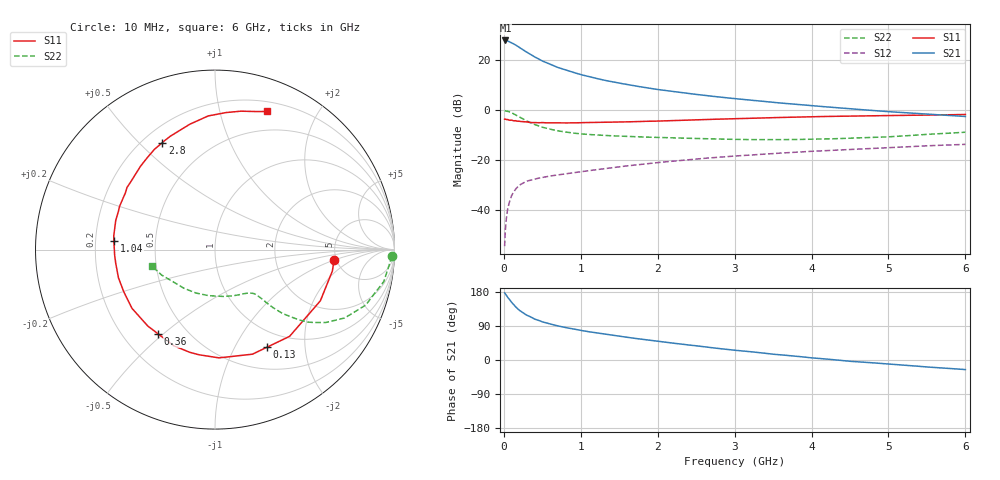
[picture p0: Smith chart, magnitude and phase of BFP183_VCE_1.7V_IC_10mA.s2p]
! Infineon Technologies  Discrete & RF Semiconductors
! BFP183
! VCE = 1.7 V,  IC =  10 mA
! Common Emitter S-Parameters:  Jan 2016
# GHz  S  MA  R  50
!  f  S11  S21  S12  S22
! GHz  MAG  ANG  MAG  ANG  MAG  ANG  MAG  ANG
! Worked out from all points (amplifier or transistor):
!   210 points, 10 MHz to 6 GHz, reference 50 ohm
!   highest |S21| = 28.0 dB at 20 MHz (marker M1)
!   |S21| within 3 dB of that: start of sweep to 213 MHz
!   unconditionally stable (mu >= 1): 1.119 GHz to 5.751 GHz
!   at 185 MHz: K = 0.26, MSG = 28.0 dB, |S12| = -30.5 dB
!   at 1.52 GHz: K = 1.11, MAG = 14.6 dB, |S12| = -22.6 dB
!   at 6 GHz: K = 0.96, MSG = 5.6 dB, |S12| = -13.7 dB
!   S11 on the Smith chart (normalised r, x): 10 MHz: 4.76, -1.01; 130 MHz: 0.78, -1.36; 360 MHz: 0.35, -0.48; 1.04 GHz: 0.28, +0.04; 2.8 GHz: 0.27, +0.59; 6 GHz: 0.29, +1.41
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0.01  0.6656 -5.1  24.86 177.2  0.0019 82.1  0.9846 -2.1
0.02  0.6648 -10.3  25 174.6  0.004 87.7  0.9772 -4.3
0.05  0.6527 -25.9  24.5 165.4  0.0106 81.2  0.9572 -10.7
0.1  0.6374 -49.3  22.53 152.4  0.0194 68.0  0.8949 -20.2
0.13  0.6162 -61.8  21.17 145.7  0.0234 63.1  0.8463 -24.6
0.15  0.619 -70.3  20.44 140.8  0.0261 60.6  0.817 -27.8
0.2  0.6036 -87.9  18.27 131.5  0.0315 54.2  0.7381 -33.4
0.24  0.5927 -98.7  16.56 125.6  0.0341 50.4  0.6829 -36.5
0.3  0.583 -113.1  14.51 118.0  0.0382 47.0  0.6087 -40.0
0.36  0.5664 -123.9  12.81 112.5  0.0405 44.5  0.5543 -41.9
0.4  0.567 -131.3  11.75 108.0  0.042 43.0  0.5185 -43.4
0.5  0.5666 -144.7  9.717 100.7  0.0452 40.9  0.458 -45.0
0.6  0.56 -155.0  8.357 95.0  0.0482 40.3  0.4177 -45.8
1.02  0.5642 176.1  5.089 77.5  0.0591 41.6  0.335 -47.9
1.04  0.5653 175.1  5.001 76.9  0.0597 41.7  0.3331 -48.1
1.5  0.5837 155.6  3.499 62.7  0.0739 43.1  0.3036 -52.8
2.02  0.6085 137.5  2.582 49.0  0.0902 42.5  0.286 -61.3
2.8  0.665 116.2  1.842 30.1  0.115 38.8  0.2662 -78.9
3.1  0.6837 109.5  1.653 24.0  0.124 37.2  0.2597 -87.0
4.1  0.7487 91.3  1.202 4.1  0.1532 30.1  0.265 -116.8
5.1  0.7871 78.3  0.917 -12.1  0.1805 23.6  0.2997 -144.9
6  0.823 69.3  0.751 -25.3  0.2077 15.7  0.3639 -165.6
